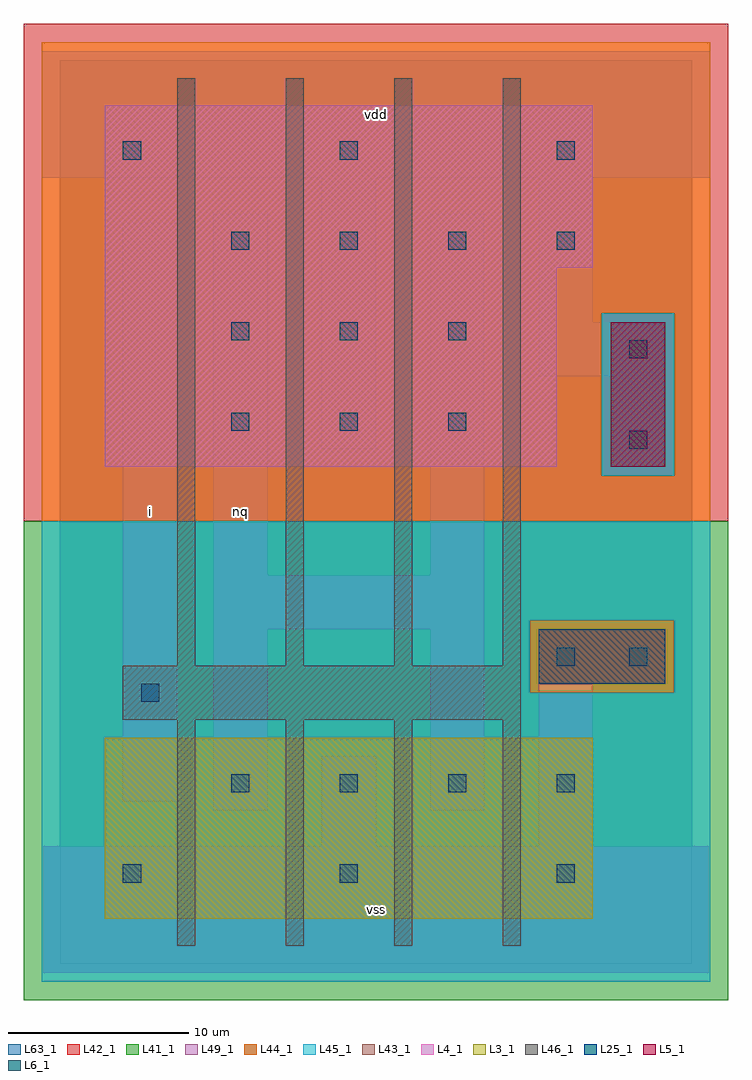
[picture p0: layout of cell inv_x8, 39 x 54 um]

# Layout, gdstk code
import gdstk
lib = gdstk.Library(unit=1e-6, precision=1e-09)
def R(c, l, rs):  # rectangles x0, y0, x1, y1
    for r in rs: c.add(gdstk.rectangle(r[:2], r[2:], *l))
def A(c, l, x, y, w, h, nx, ny, dx, dy):  # array of equal rectangles
    R(c, l, [(x+i*dx, y+j*dy, x+i*dx+w, y+j*dy+h) for i in range(nx) for j in range(ny)])
L3_1 = (3, 1)
L4_1 = (4, 1)
L5_1 = (5, 1)
L6_1 = (6, 1)
L25_1 = (25, 1)
L41_1 = (41, 1)
L42_1 = (42, 1)
L43_1 = (43, 1)
L44_1 = (44, 1)
L45_1 = (45, 1)
L46_1 = (46, 1)
L49_1 = (49, 1)
L63_1 = (63, 1)

inv_x8 = lib.new_cell('inv_x8')
R(inv_x8, L3_1, [(2.5,2.5,29.5,12.5)])
R(inv_x8, L4_1, [(2.5,27.5,27.5,38.5), (2.5,38.5,29.5,47.5)])
R(inv_x8, L5_1, [(30.5,27.5,33.5,35.5)])
R(inv_x8, L6_1, [(26.5,15.5,33.5,18.5)])
A(inv_x8, L25_1, 3.5, 4.5, 1, 1, 3, 2, 12, 40)
A(inv_x8, L25_1, 9.5, 9.5, 1, 1, 4, 2, 6, 30)
A(inv_x8, L25_1, 9.5, 29.5, 1, 1, 3, 2, 6, 5)
R(inv_x8, L25_1, [(4.5,14.5,5.5,15.5), (27.5,16.5,28.5,17.5), (31.5,16.5,32.5,17.5), (31.5,28.5,32.5,29.5), (31.5,33.5,32.5,34.5)])
R(inv_x8, L41_1, [(-2,-2,37,24.5)])
R(inv_x8, L42_1, [(-2,24.5,37,52)])
R(inv_x8, L43_1, [(2.5,2.5,29.5,12.5), (26.5,15.5,33.5,18.5), (2.5,27.5,27.5,38.5), (30.5,27.5,33.5,35.5), (2.5,38.5,29.5,47.5)])
R(inv_x8, L44_1, [(26,15,34,19), (-1,24.5,36,27), (-1,27,30,36), (34,27,36,36), (-1,36,36,51)])
R(inv_x8, L45_1, [(-1,-1,36,15), (-1,15,26,19), (34,15,36,19), (-1,19,36,24.5), (30,27,34,36)])
A(inv_x8, L46_1, 6.5, 1, 1, 12.5, 4, 1, 6, 0)
A(inv_x8, L46_1, 6.5, 16.5, 1, 32.5, 4, 1, 6, 0)
R(inv_x8, L46_1, [(3.5,13.5,25.5,16.5)])
R(inv_x8, L49_1, [(-1,-0.5,36,6.5), (14.5,6.5,17.5,11.5), (26.5,6.5,29.5,15.5), (8.5,8.5,11.5,18.5), (20.5,8.5,23.5,18.5), (3.5,9,6.5,41), (26.5,15.5,33.5,18.5), (8.5,18.5,23.5,21.5), (8.5,21.5,11.5,41.5), (20.5,21.5,23.5,41.5), (30.5,27.5,33.5,32.5), (14.5,28.5,17.5,43.5), (26.5,32.5,33.5,35.5), (26.5,35.5,29.5,43.5), (-1,43.5,36,50.5)])
R(inv_x8, L63_1, [(0,0,35,50)])
inv_x8.add(gdstk.Label('i', (5,25), layer=49, texttype=1))
inv_x8.add(gdstk.Label('i', (5,25), layer=49, texttype=1))
inv_x8.add(gdstk.Label('nq', (10,25), layer=49, texttype=1))
inv_x8.add(gdstk.Label('nq', (10,25), layer=49, texttype=1))
inv_x8.add(gdstk.Label('vss', (17.5,3), layer=49, texttype=1))
inv_x8.add(gdstk.Label('vss', (17.5,3), layer=49, texttype=1))
inv_x8.add(gdstk.Label('vdd', (17.5,47), layer=49, texttype=1))
inv_x8.add(gdstk.Label('vdd', (17.5,47), layer=49, texttype=1))

lib.write_gds('inv_x8.gds')
